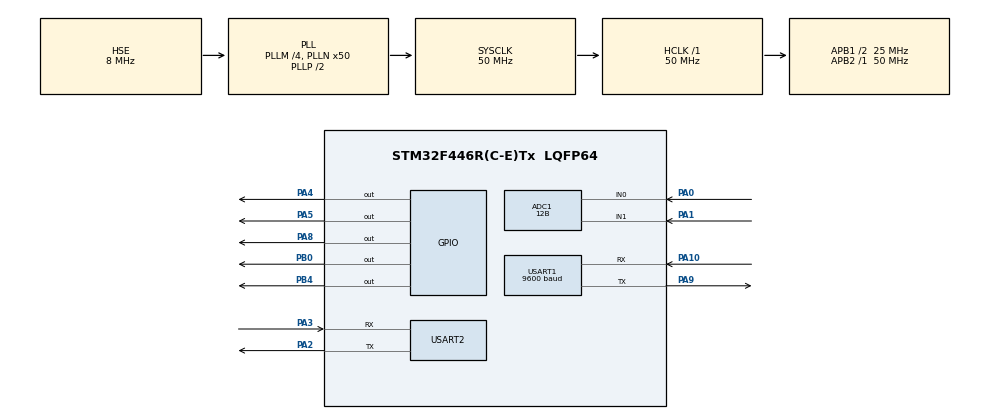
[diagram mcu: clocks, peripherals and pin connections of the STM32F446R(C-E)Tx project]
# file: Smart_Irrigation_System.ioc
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ADC1.Channel-4\#ChannelRegularConversion=ADC_CHANNEL_0
ADC1.Channel-5\#ChannelRegularConversion=ADC_CHANNEL_1
ADC1.ClockPrescaler=ADC_CLOCK_SYNC_PCLK_DIV8
ADC1.ContinuousConvMode=ENABLE
ADC1.DMAContinuousRequests=ENABLE
ADC1.EOCSelection=ADC_EOC_SEQ_CONV
ADC1.InjNumberOfConversion=0
ADC1.NbrOfConversion=2
ADC1.NbrOfConversionFlag=1
ADC1.Rank-4\#ChannelRegularConversion=1
ADC1.Rank-5\#ChannelRegularConversion=2
ADC1.Resolution=ADC_RESOLUTION_12B
ADC1.SamplingTime-4\#ChannelRegularConversion=ADC_SAMPLETIME_56CYCLES
ADC1.SamplingTime-5\#ChannelRegularConversion=ADC_SAMPLETIME_56CYCLES
ADC1.ScanConvMode=ENABLE
ADC1.master=1
Dma.ADC1.0.Direction=DMA_PERIPH_TO_MEMORY
Dma.ADC1.0.FIFOMode=DMA_FIFOMODE_DISABLE
Dma.ADC1.0.Instance=DMA2_Stream0
Dma.ADC1.0.MemDataAlignment=DMA_MDATAALIGN_WORD
Dma.ADC1.0.MemInc=DMA_MINC_ENABLE
Dma.ADC1.0.Mode=DMA_CIRCULAR
Dma.ADC1.0.PeriphDataAlignment=DMA_PDATAALIGN_WORD
Dma.ADC1.0.PeriphInc=DMA_PINC_DISABLE
Dma.ADC1.0.Priority=DMA_PRIORITY_LOW
Dma.Request0=ADC1
FATFS._MAX_SS=4096
FATFS._USE_LFN=1
Mcu.Family=STM32F4
Mcu.Name=STM32F446R(C-E)Tx
Mcu.Package=LQFP64
NVIC.DMA2_Stream0_IRQn=true\:0\:0\:false\:false\:true\:false\:true
NVIC.PriorityGroup=NVIC_PRIORITYGROUP_4
NVIC.USART1_IRQn=true\:0\:0\:false\:false\:true\:true\:true
PA0-WKUP.Signal=ADCx_IN0
PA1.Signal=ADCx_IN1
PA10.Mode=Asynchronous
PA10.Signal=USART1_RX
PA2.Mode=Asynchronous
PA2.Signal=USART2_TX
PA3.Mode=Asynchronous
PA3.Signal=USART2_RX
PA4.GPIO_PuPd=GPIO_PULLDOWN
PA4.Signal=GPIO_Output
PA5.Signal=GPIO_Output
PA8.Signal=GPIO_Output
PA9.Mode=Asynchronous
PA9.Signal=USART1_TX
PB0.Signal=GPIO_Output
PB4.Signal=GPIO_Output
PH0-OSC_IN.Mode=HSE-External-Oscillator
PH0-OSC_IN.Signal=RCC_OSC_IN
PH1-OSC_OUT.Mode=HSE-External-Oscillator
PH1-OSC_OUT.Signal=RCC_OSC_OUT
ProjectManager.HeapSize=0x200
ProjectManager.StackSize=0x400
ProjectManager.TargetToolchain=STM32CubeIDE
RCC.AHBFreq_Value=50000000
RCC.APB1CLKDivider=RCC_HCLK_DIV2
RCC.APB1Freq_Value=25000000
RCC.APB1TimFreq_Value=50000000
RCC.APB2Freq_Value=50000000
RCC.APB2TimFreq_Value=50000000
RCC.CortexFreq_Value=50000000
RCC.HCLKFreq_Value=50000000
RCC.HSE_VALUE=8000000
RCC.PLLM=4
RCC.PLLN=50
RCC.PLLSourceVirtual=RCC_PLLSOURCE_HSE
RCC.SYSCLKFreq_VALUE=50000000
RCC.SYSCLKSource=RCC_SYSCLKSOURCE_PLLCLK
RCC.USBFreq_Value=50000000
RCC.VCOOutputFreq_Value=100000000
SH.ADCx_IN0.0=ADC1_IN0,IN0
SH.ADCx_IN1.0=ADC1_IN1,IN1
TIM10.Prescaler=50-1
TIM11.Prescaler=500-1
USART1.BaudRate=9600
USART1.VirtualMode=VM_ASYNC
USART2.VirtualMode=VM_ASYNC
VP_FATFS_VS_Generic.Mode=User_defined
VP_RTC_VS_RTC_Activate.Mode=RTC_Enabled
VP_RTC_VS_RTC_Calendar.Mode=RTC_Calendar
VP_TIM10_VS_ClockSourceINT.Mode=Enable_Timer
VP_TIM11_VS_ClockSourceINT.Mode=Enable_Timer
VP_TIM13_VS_ClockSourceINT.Mode=Enable_Timer
board=custom

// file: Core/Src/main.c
/* USER CODE BEGIN Header */
/**
  ******************************************************************************
  * @file           : main.c
  * @brief          : Main program body
  ******************************************************************************
  * @attention
  *
  * <h2><center>&copy; Copyright (c) 2020 STMicroelectronics.
  * All rights reserved.</center></h2>
  *
  * This software component is licensed by ST under BSD 3-Clause license,
  * the "License"; You may not use this file except in compliance with the
  * License. You may obtain a copy of the License at:
  *                        opensource.org/licenses/BSD-3-Clause
  *
  ******************************************************************************
  */
/* USER CODE END Header */
#include "main.h"

/* USER CODE BEGIN Includes */
#include <string.h>
#include <stdio.h>
#include <math.h>

#include "gpio.h"
#include "usart.h"
#include "adc.h"
#include "timer.h"
#include "ds18b20.h"
#include "bluetooth.h"
#include "timer.h"
#include "dma.h"

/* USER CODE END Includes */

/*ADC_HandleTypeDef hadc1;
DMA_HandleTypeDef hdma_adc1;

RTC_HandleTypeDef hrtc;

TIM_HandleTypeDef htim10;
TIM_HandleTypeDef htim11;
TIM_HandleTypeDef htim13;

UART_HandleTypeDef huart1;
UART_HandleTypeDef huart2;
*/

/* USER CODE BEGIN PV */

void SystemClock_Config(void);
/* USER CODE END PV */

int main(void)
{

  /* MCU Configuration--------------------------------------------------------*/

  /* Reset of all peripherals, Initializes the Flash interface and the Systick. */
  HAL_Init();

  /* Configure the system clock */
  SystemClock_Config();

  /* Initialize all configured peripherals */
  MX_GPIO_Init();
  MX_DMA_Init();
  MX_USART2_UART_Init();
  MX_ADC1_Init();
  MX_USART1_UART_Init();
  MX_FATFS_Init();
  MX_RTC_Init();
  MX_TIM10_Init();
  MX_TIM11_Init();
  MX_TIM13_Init();
  /* USER CODE BEGIN 2 */
  //Start Timer_10 used to create microsecond delay during temperature sensor communication
  HAL_TIM_Base_Start(&htim10);
  HAL_TIM_Base_Start(&htim11);
  HAL_TIM_Base_Start(&htim13);
  /* USER CODE END 2 */

  /* Infinite loop */
  /* USER CODE BEGIN WHILE */
  uint32_t adc_value[2];
  uint32_t raw;
  uint32_t Rx, Lux;
  uint8_t moisture;
  uint8_t state = 0;
  uint8_t irrigation;
  char buffer[120];
  //Start DMA from ADC1
  HAL_ADC_Start_DMA(&hadc1, adc_value, 2);

  set_time();

  while (1)
  {
	  __HAL_TIM_SET_COUNTER(&htim11, 0);
	  //Setting buffer values to zero
	  memset(buffer, 0, sizeof(buffer));
//************************************************LIGHT SENSOR*******************************************************************************
	  //Value of ADC conversion automatically stored through DMA in the buffer
	  raw = adc_value[0];
	  //Calculating approximate value in standard SI units
	  Rx = (19251200 - 4700*raw)/raw;
	  Lux = 16301 - 1596*log(Rx);
	  Lux = 4857612*pow(Rx, -1.02911);
	  sprintf(msg, "%ld ",Lux);
//************************************************MOISTURE SENSOR****************************************************************************
	  //Value of ADC conversion automatically stored through DMA in the buffer
	  raw = adc_value[1];
	  //Rescaling raw value from ADC to represent the percent of moisture
	  moisture = (3396 - raw)/19;
	  sprintf(buffer,"%d ",moisture);
	  strcat(msg, buffer);

//************************************************TEMPERATURE SENSORS*************************************************************************
	  //Stop ADC conversion to prevent interrupts during microseconds delay
	  HAL_ADC_PollForConversion(&hadc1, HAL_MAX_DELAY);
	  HAL_ADC_Stop(&hadc1);
	  //Start sensor communication
		for(int j = 0;j < 2;j++)
		{
		  //Reset the data line
		  Start_DS18B20();
		  //Matching ROM code
		  Write_Byte_DS18B20 (0x55);
		  //Sending ROM code to the corresponding sensor
		  for(int i = 0; i < 8; i++)
		  {
			  Write_Byte_DS18B20(DS18B20_ROM_ADDR[j][i]);
		  }
		  //Start temperature conversion
		  Write_Byte_DS18B20 (0x44);
		}
		HAL_Delay (100);
		// After conversion read temperature data from both sensors
		for(int j = 0;j < 2;j++)
		{
		  //Reset the data line
		  Start_DS18B20();
		  //Matching ROM code
		  Write_Byte_DS18B20 (0x55);
		  //Sending ROM code to the corresponding sensor
		  for(int i = 0; i<8; i++)
			  {
				  Write_Byte_DS18B20(DS18B20_ROM_ADDR[j][i]);
			  }
		  //Sending data from sensor to Mcu
		  Write_Byte_DS18B20 (0xBE);
		  //Receive 8 bits of temperature data and CRC bit
		  Temp_byte1 = Read_DS18B20();
		  //Receive 8 bits of temperature data and CRC bit
		  Temp_byte2 = Read_DS18B20();
		  //Creating 16bit value with byte-shifting
		  Temp = (Temp_byte2 << 8) | Temp_byte1;
		  //Convert value from uint16_t to 12 bit value of float type
		  Temperatures[j] = (float)Temp/16;
		}
	  __HAL_ADC_ENABLE_IT(&hadc1, ADC_IT_OVR);
	  sprintf(buffer, "%.2f " ,Temperatures[0]);
	  strcat(msg, buffer);
	  sprintf(buffer, "%.2f",Temperatures[1]);
	  strcat(msg, buffer);
	  HAL_ADC_Start(&hadc1);
//************************************************BLUETOOTH COMMUNICATION*********************************************************************
	  UART1_IRQHandler();
	  sprintf(T_msg,"Buffer: %d",buffer_index);

//************************************************REAL-TIME CLOCK*******************************************************************************
	  //Get current time
	  get_time();
	  sprintf(buffer, "%s ", (char*)time);
	  //strcat(msg,buffer);
	  sprintf(buffer, "%s ", (char*)date);
	  //strcat(msg,buffer);
//************************************************UART TRAMSMIT*******************************************************************************
	  strcat(msg, "\r\n");
	  //Transmit to PC serial port
	  HAL_UART_Transmit(&huart2, (char*)msg,strlen((char*)msg), HAL_MAX_DELAY);
	  //Transmit to Bluetooth module
	  HAL_UART_Transmit(&huart1, (char*)msg,strlen((char*)msg), HAL_MAX_DELAY);
	  //Irrigation algorithm
	  if (moisture < 40)
		  irrigation = 1;
	  if (moisture > 70)
	  	  irrigation = 0;
	  //If conditions met start irrigation
	  if(__HAL_TIM_GET_COUNTER(&htim13) > 55000 && irrigation == 1)
	  {
		  __HAL_TIM_SET_COUNTER(&htim13, 0);
		  HAL_GPIO_WritePin(GPIOA, GPIO_PIN_4, 1 );
		  HAL_GPIO_WritePin(GPIOA, GPIO_PIN_5, 1 );
		  state = 1;
	  }
	  //If conditions met stop irrigation
	  if(state == 1 && __HAL_TIM_GET_COUNTER(&htim13) > 5000 )
	  {
		  HAL_GPIO_WritePin(GPIOA, GPIO_PIN_4, 0 );
		  HAL_GPIO_WritePin(GPIOA, GPIO_PIN_5, 0 );
		  state = 0;
	  }
	  while((__HAL_TIM_GET_COUNTER(&htim11)) < 999);
    /* USER CODE END WHILE */

  }
}

void SystemClock_Config(void)
{
  RCC_OscInitTypeDef RCC_OscInitStruct = {0};
  RCC_ClkInitTypeDef RCC_ClkInitStruct = {0};
  RCC_PeriphCLKInitTypeDef PeriphClkInitStruct = {0};

  /** Configure the main internal regulator output voltage
  */
  __HAL_RCC_PWR_CLK_ENABLE();
  __HAL_PWR_VOLTAGESCALING_CONFIG(PWR_REGULATOR_VOLTAGE_SCALE3);
  /** Initializes the RCC Oscillators according to the specified parameters
  * in the RCC_OscInitTypeDef structure.
  */
  RCC_OscInitStruct.OscillatorType = RCC_OSCILLATORTYPE_LSI|RCC_OSCILLATORTYPE_HSE;
  RCC_OscInitStruct.HSEState = RCC_HSE_ON;
  RCC_OscInitStruct.LSEState = RCC_LSE_OFF;
  RCC_OscInitStruct.LSIState = RCC_LSI_ON;
  RCC_OscInitStruct.PLL.PLLState = RCC_PLL_ON;
  RCC_OscInitStruct.PLL.PLLSource = RCC_PLLSOURCE_HSE;
  RCC_OscInitStruct.PLL.PLLM = 4;
  RCC_OscInitStruct.PLL.PLLN = 50;
  RCC_OscInitStruct.PLL.PLLP = RCC_PLLP_DIV2;
  RCC_OscInitStruct.PLL.PLLQ = 2;
  RCC_OscInitStruct.PLL.PLLR = 2;
  if (HAL_RCC_OscConfig(&RCC_OscInitStruct) != HAL_OK)
  {
    Error_Handler();
  }
  /** Initializes the CPU, AHB and APB buses clocks
  */
  RCC_ClkInitStruct.ClockType = RCC_CLOCKTYPE_HCLK|RCC_CLOCKTYPE_SYSCLK
                              |RCC_CLOCKTYPE_PCLK1|RCC_CLOCKTYPE_PCLK2;
  RCC_ClkInitStruct.SYSCLKSource = RCC_SYSCLKSOURCE_PLLCLK;
  RCC_ClkInitStruct.AHBCLKDivider = RCC_SYSCLK_DIV1;
  RCC_ClkInitStruct.APB1CLKDivider = RCC_HCLK_DIV2;
  RCC_ClkInitStruct.APB2CLKDivider = RCC_HCLK_DIV1;

  if (HAL_RCC_ClockConfig(&RCC_ClkInitStruct, FLASH_LATENCY_1) != HAL_OK)
  {
    Error_Handler();
  }
  PeriphClkInitStruct.PeriphClockSelection = RCC_PERIPHCLK_RTC;
  PeriphClkInitStruct.RTCClockSelection = RCC_RTCCLKSOURCE_LSI;
  if (HAL_RCCEx_PeriphCLKConfig(&PeriphClkInitStruct) != HAL_OK)
  {
    Error_Handler();
  }
}

void Error_Handler(void)
{
}

/************************ (C) COPYRIGHT STMicroelectronics *****END OF FILE****/
